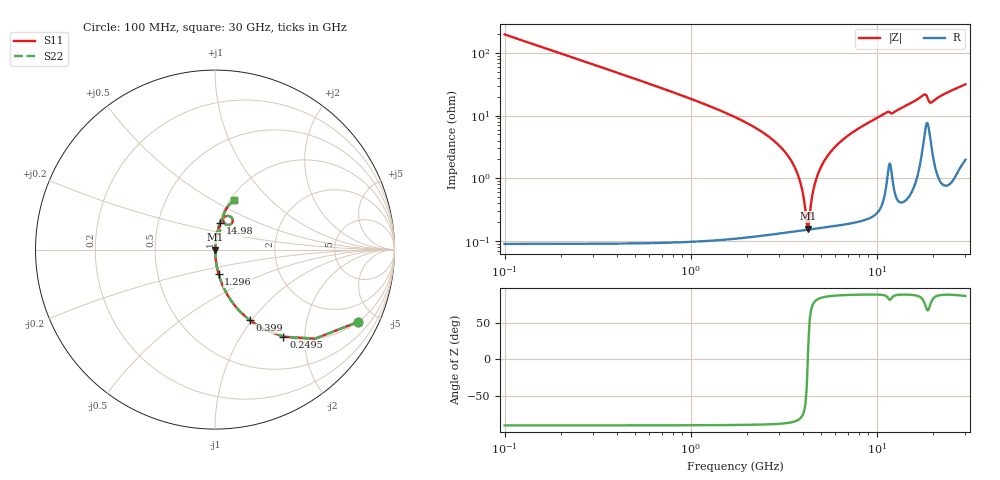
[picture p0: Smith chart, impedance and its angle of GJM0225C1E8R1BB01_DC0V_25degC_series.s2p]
!Murata Part Number: GJM0225C1E8R1BB01
!These Parameters are Measured in Series Mode Connection
!  o--ll--o
!Port1  Port2
!  o------o
!Operation Temp=25[degC], DC Bias Voltage=0[V]
!Freq. Start=100[MHz] Stop=30[GHz], 401[Steps]
!Data Generated on Feb 1, 2023
# Hz S RI R 50
!Freq.(Hz) S11(Real) S11(Imag) S21(Real) S21(Imag) S12(Real) S12(Imag) S22(Real) S22(Imag)
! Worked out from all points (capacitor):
!   401 points, 100 MHz to 30 GHz, reference 50 ohm
!   read as one part in series: C = 8.1 pF near 249.5 MHz
!   lowest |Z| = 159 mohm at 4.286 GHz (marker M1)
!   series resonance near 4.265 GHz, so ESL is about 170 pH
!   S11 on the Smith chart (normalised r, x): 100 MHz: 1.00, -3.93; 249.5 MHz: 1.00, -1.57; 399 MHz: 1.00, -0.98; 1.296 GHz: 1.00, -0.27; 14.98 GHz: 1.01, +0.31; 30 GHz: 1.04, +0.63
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1e8  0.794 -0.4042  0.206 0.4042  0.206 0.4042  0.794 -0.4042
2.495e8  0.3813 -0.4851  0.6187 0.4851  0.6187 0.4851  0.3813 -0.4851
3.99e8  0.1929 -0.3936  0.8071 0.3936  0.8071 0.3936  0.1929 -0.3936
6.98e8  0.0705 -0.2543  0.9295 0.2543  0.9295 0.2543  0.0705 -0.2543
1.296e9  0.0195 -0.1347  0.9805 0.1347  0.9805 0.1347  0.0195 -0.1347
3.389e9  0.00184 -0.0213  0.9982 0.0213  0.9982 0.0213  0.00184 -0.0213
3.8375e9  0.00155 -0.0097  0.9985 0.0097  0.9985 0.0097  0.00155 -0.0097
4.1365e9  0.00151 -0.00281  0.9985 0.00281  0.9985 0.00281  0.00151 -0.00281
4.286e9  0.00152 0.000444  0.9985 -0.000444  0.9985 -0.000444  0.00152 0.000444
4.36075e9  0.00153 0.00203  0.9985 -0.00203  0.9985 -0.00203  0.00153 0.00203
4.65975e9  0.00164 0.00812  0.9984 -0.00812  0.9984 -0.00812  0.00164 0.00812
5.10825e9  0.00191 0.0166  0.9981 -0.0166  0.9981 -0.0166  0.00191 0.0166
5.781e9  0.00252 0.0283  0.9975 -0.0283  0.9975 -0.0283  0.00252 0.0283
6.8275e9  0.00387 0.0448  0.9961 -0.0448  0.9961 -0.0448  0.00387 0.0448
1.01165e10  0.0113 0.0913  0.9887 -0.0913  0.9887 -0.0913  0.0113 0.0913
1.497525e10  0.0278 0.1485  0.9722 -0.1485  0.9722 -0.1485  0.0278 0.1485
1.505e10  0.0283 0.1495  0.9717 -0.1495  0.9717 -0.1495  0.0283 0.1495
1.804e10  0.0822 0.1857  0.9178 -0.1857  0.9178 -0.1857  0.0822 0.1857
1.9236e10  0.0707 0.137  0.9293 -0.137  0.9293 -0.137  0.0707 0.137
2.005825e10  0.0476 0.1551  0.9524 -0.1551  0.9524 -0.1551  0.0476 0.1551
2.50665e10  0.0651 0.2303  0.9349 -0.2303  0.9349 -0.2303  0.0651 0.2303
3e10  0.1042 0.2757  0.8958 -0.2757  0.8958 -0.2757  0.1042 0.2757
